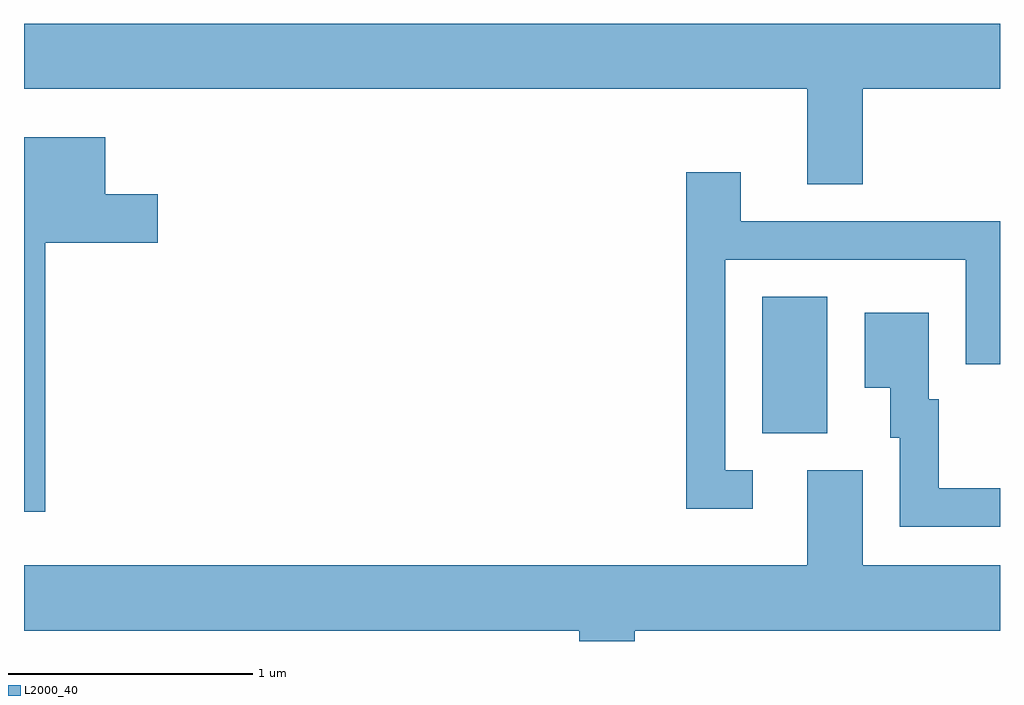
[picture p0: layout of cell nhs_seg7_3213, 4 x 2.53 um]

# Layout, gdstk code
import gdstk
lib = gdstk.Library(unit=1e-6, precision=1e-09)
def R(c, l, rs):  # rectangles x0, y0, x1, y1
    for r in rs: c.add(gdstk.rectangle(r[:2], r[2:], *l))
def P(c, l, *ps):  # polygons
    for p in ps: c.add(gdstk.Polygon(p, *l))
L2000_40 = (2000, 40)

nhs_seg7_3213 = lib.new_cell('nhs_seg7_3213')
R(nhs_seg7_3213, L2000_40, [(286.636,1735.106,286.904,1735.664)])
P(nhs_seg7_3213, L2000_40, [(287.049,1736.516),(287.611,1736.516),(287.611,1736.784),(283.611,1736.784),(283.611,1736.516),(286.821,1736.516),(286.821,1736.126),(287.049,1736.126)],
  [(283.699,1735.886),(284.159,1735.886),(284.159,1736.084),(283.944,1736.084),(283.944,1736.319),(283.611,1736.319),(283.611,1734.783),(283.699,1734.783)],
  [(286.598,1734.954),(286.484,1734.954),(286.484,1735.816),(287.471,1735.816),(287.471,1735.388),(287.611,1735.388),(287.611,1735.974),(286.549,1735.974),(286.549,1736.174),(286.326,1736.174),(286.326,1734.796),(286.598,1734.796)],
  [(287.611,1734.879),(287.359,1734.879),(287.359,1735.244),(287.319,1735.244),(287.319,1735.599),(287.056,1735.599),(287.056,1735.291),(287.161,1735.291),(287.161,1735.086),(287.201,1735.086),(287.201,1734.721),(287.611,1734.721)],
  [(286.114,1734.296),(287.611,1734.296),(287.611,1734.564),(287.049,1734.564),(287.049,1734.954),(286.821,1734.954),(286.821,1734.564),(283.611,1734.564),(283.611,1734.296),(285.886,1734.296),(285.886,1734.252),(286.114,1734.252)])

lib.write_gds('nhs_seg7_3213.gds')
